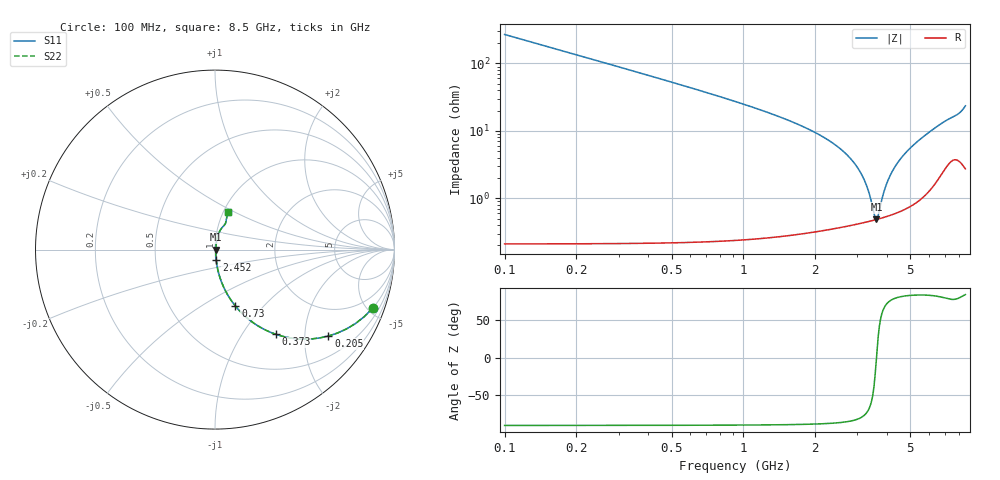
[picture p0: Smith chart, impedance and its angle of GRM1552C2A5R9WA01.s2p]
!Murata Part Number: GRM1552C2A5R9WA01
!These Parameters are Measured in Series Mode Connection
!Data Generated on Mar 30, 2021
!  o--ll--o
!Port1  Port2
!  o------o
!Operation Temp=25[degC], DC Bias Voltage=0[V]
!Freq. Start=100[MHz] Stop=9[GHz] 401[Steps]
# Hz S RI R 50
!Freq.(Hz) S11(Real) S11(Imag) S21(Real) S21(Imag) S12(Real) S12(Imag) S22(Real) S22(Imag)
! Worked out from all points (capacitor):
!   401 points, 100 MHz to 8.5 GHz, reference 50 ohm
!   read as one part in series: C = 5.9 pF near 142 MHz
!   lowest |Z| = 485 mohm at 3.607 GHz (marker M1)
!   series resonance near 3.607 GHz, so ESL is about 330 pH
!   S11 on the Smith chart (normalised r, x): 100 MHz: 1.00, -5.39; 205 MHz: 1.00, -2.62; 373 MHz: 1.00, -1.43; 730 MHz: 1.00, -0.71; 2.452 GHz: 1.01, -0.12; 8.5 GHz: 1.05, +0.47
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1e8  0.8788 -0.3259  0.1212 0.3259  0.1212 0.3259  0.8788 -0.3259
2.05e8  0.6322 -0.4814  0.3678 0.4814  0.3678 0.4814  0.6322 -0.4814
3.73e8  0.3391 -0.4719  0.6609 0.4719  0.6609 0.4719  0.3391 -0.4719
5.2e8  0.2063 -0.4025  0.7937 0.4025  0.7937 0.4025  0.2063 -0.4025
7.3e8  0.1133 -0.3138  0.8867 0.3138  0.8867 0.3138  0.1133 -0.3138
1.507e9  0.0241 -0.1445  0.9759 0.1445  0.9759 0.1445  0.0241 -0.1445
2.452e9  0.00714 -0.0595  0.9929 0.0595  0.9929 0.0595  0.00714 -0.0595
2.914e9  0.00511 -0.0327  0.9949 0.0327  0.9949 0.0327  0.00511 -0.0327
3.25e9  0.00465 -0.016  0.9953 0.016  0.9953 0.016  0.00465 -0.016
3.376e9  0.00465 -0.0102  0.9954 0.0102  0.9954 0.0102  0.00465 -0.0102
3.544e9  0.00475 -0.0027  0.9952 0.0027  0.9952 0.0027  0.00475 -0.0027
3.607e9  0.00482 1.96e-05  0.9952 -1.96e-05  0.9952 -1.96e-05  0.00482 1.96e-05
3.67e9  0.00491 0.0027  0.9951 -0.0027  0.9951 -0.0027  0.00491 0.0027
3.817e9  0.00518 0.00884  0.9948 -0.00884  0.9948 -0.00884  0.00518 0.00884
3.943e9  0.00548 0.014  0.9945 -0.014  0.9945 -0.014  0.00548 0.014
4.111e9  0.00597 0.0207  0.994 -0.0207  0.994 -0.0207  0.00597 0.0207
4.3e9  0.00665 0.028  0.9933 -0.028  0.9933 -0.028  0.00665 0.028
4.867e9  0.00958 0.0494  0.9904 -0.0494  0.9904 -0.0494  0.00958 0.0494
5.707e9  0.0172 0.0808  0.9828 -0.0808  0.9828 -0.0808  0.0172 0.0808
7.114e9  0.047 0.1312  0.953 -0.1312  0.953 -0.1312  0.047 0.1312
7.954e9  0.0618 0.1598  0.9382 -0.1598  0.9382 -0.1598  0.0618 0.1598
8.5e9  0.0746 0.2108  0.9254 -0.2108  0.9254 -0.2108  0.0746 0.2108
